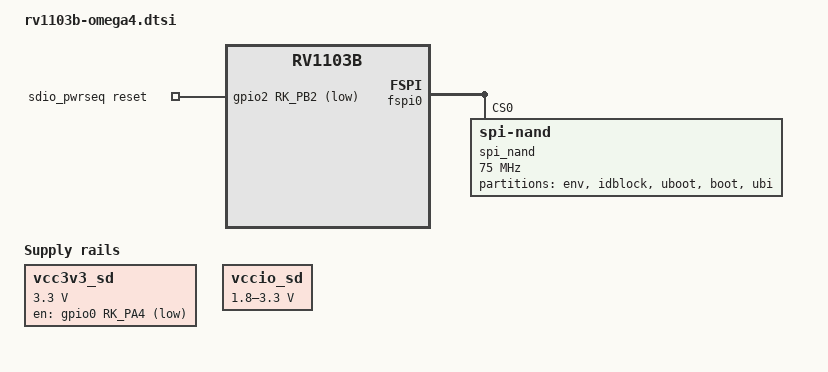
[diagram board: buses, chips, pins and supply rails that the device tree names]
// SPDX-License-Identifier: (GPL-2.0+ OR MIT)
/*
 * Copyright (c) 2022 Rockchip Electronics Co., Ltd.
 * Copyright (c) 2025 plan44.ch/luz
 * Copyright (c) 2026 Onion Corporation
 */

/dts-v1/;

#include "rv1103b.dtsi"

/ {
	sdio_pwrseq: sdio-pwrseq {
		compatible = "mmc-pwrseq-simple";
		pinctrl-names = "default";
		pinctrl-0 = <&wifi_enable_h>;
		post-power-on-delay-ms = <300>;
		reset-gpios = <&gpio2 RK_PB2 GPIO_ACTIVE_LOW>;
	};

	vcc3v3_sd: vcc3v3-sd {
		compatible = "regulator-fixed";
		gpio = <&gpio0 RK_PA4 GPIO_ACTIVE_LOW>;
		pinctrl-names = "default";
		pinctrl-0 = <&sdmmc_pwren>;
		regulator-name = "vcc3v3_sd";
		regulator-min-microvolt = <3300000>;
		regulator-max-microvolt = <3300000>;
	};

	vccio_sd: vccio-sd {
		compatible = "regulator-gpio";
		gpios = <&gpio0 RK_PA3 GPIO_ACTIVE_HIGH>;
		pinctrl-names = "default";
		pinctrl-0 = <&sdmmc_volt>;
		regulator-name = "vccio_sd";
		regulator-min-microvolt = <1800000>;
		regulator-max-microvolt = <3300000>;
		states = <3300000 1 1800000 0>;
	};
};

&uart0 {
	bootph-all;
	pinctrl-names = "default";
	pinctrl-0 = <&uart0m0_xfer>;
};

&fspi0 {
	spi_nand: flash@0 {
		compatible = "spi-nand";
		reg = <0>;
		bootph-pre-ram;
		bootph-some-ram;
		spi-max-frequency = <75000000>;
		spi-rx-bus-width = <4>;
		spi-tx-bus-width = <1>;

		partitions {
			compatible = "fixed-partitions";
			#address-cells = <1>;
			#size-cells = <1>;

			partition@0 {
				reg = <0x00000000 0x00040000>;
				label = "env";
			};

			partition@40000 {
				reg = <0x00040000 0x00100000>;
				label = "idblock";
				read-only;
			};

			partition@140000 {
				reg = <0x00140000 0x00100000>;
				label = "uboot";
				read-only;
			};

			partition@240000 {
				reg = <0x00240000 0x00800000>;
				label = "boot";
			};

			partition@a40000 {
				reg = <0x00a40000 0x0f5c0000>;
				label = "ubi";
			};
		};
	};
};

&sdmmc0 {
	bus-width = <4>;
	cap-mmc-highspeed;
	cap-sd-highspeed;
	disable-wp;
	no-sdio;
	no-mmc;
	sd-uhs-sdr104;
	vmmc-supply = <&vcc3v3_sd>;
	vqmmc-supply = <&vccio_sd>;
	status = "disabled";
};

&sdmmc1 {
	bus-width = <4>;
	cap-sd-highspeed;
	cap-sdio-irq;
	keep-power-in-suspend;
	mmc-pwrseq = <&sdio_pwrseq>;
	no-sd;
	no-mmc;
	non-removable;
	pinctrl-names = "default";
	pinctrl-0 = <&sdmmc1_cmd &sdmmc1_clk &sdmmc1_bus4>;
	status = "disabled";
};

&pinctrl {
	sdio-pwrseq {
		/omit-if-no-ref/
		wifi_enable_h: wifi-enable-h {
			rockchip,pins = <2 RK_PB2 RK_FUNC_GPIO &pcfg_pull_none>;
		};
	};

	sdmmc {
		/omit-if-no-ref/
		sdmmc_pwren: sdmmc-pwren {
			rockchip,pins = <0 RK_PA4 RK_FUNC_GPIO &pcfg_pull_none>;
		};

		/omit-if-no-ref/
		sdmmc_volt: sdmmc-volt {
			rockchip,pins = <0 RK_PA3 RK_FUNC_GPIO &pcfg_pull_none>;
		};
	};

	wireless-wlan {
		/omit-if-no-ref/
		wifi_host_wake_irq: wifi-host-wake-irq {
			rockchip,pins = <2 RK_PA6 RK_FUNC_GPIO &pcfg_pull_none>;
		};
	};
};
